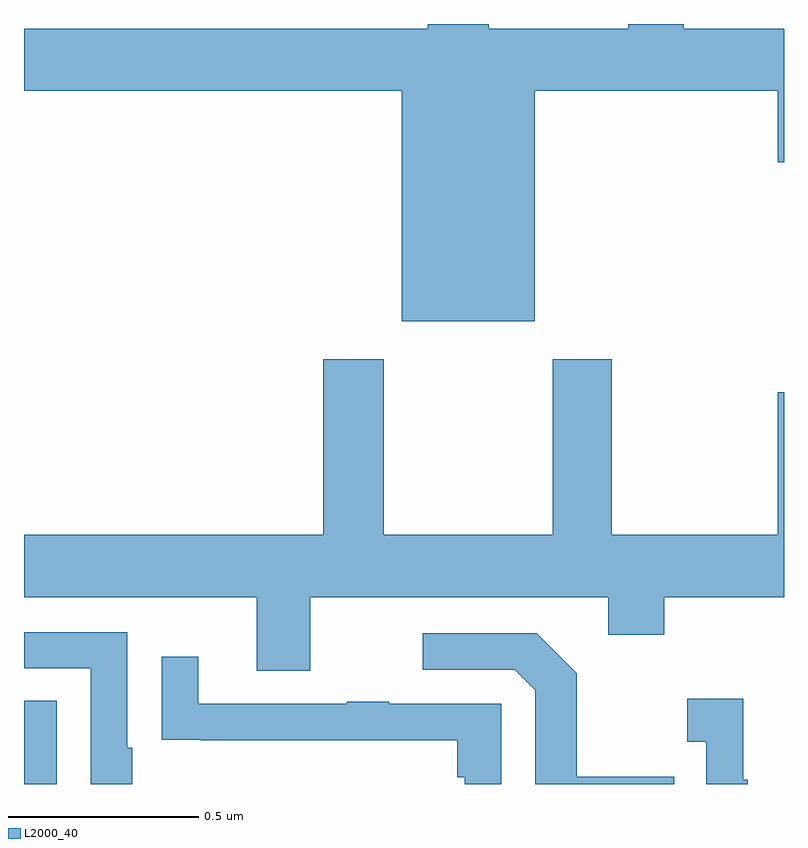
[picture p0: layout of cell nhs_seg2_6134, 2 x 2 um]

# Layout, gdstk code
import gdstk
lib = gdstk.Library(unit=1e-6, precision=1e-09)
def R(c, l, rs):  # rectangles x0, y0, x1, y1
    for r in rs: c.add(gdstk.rectangle(r[:2], r[2:], *l))
def P(c, l, *ps):  # polygons
    for p in ps: c.add(gdstk.Polygon(p, *l))
L2000_40 = (2000, 40)

nhs_seg2_6134 = lib.new_cell('nhs_seg2_6134')
R(nhs_seg2_6134, L2000_40, [(187,657.8,187.086,658.019)])
P(nhs_seg2_6134, L2000_40, [(188.344,659.624),(188.984,659.624),(188.984,659.436),(189,659.436),(189,659.788),(188.736,659.788),(188.736,659.8),(188.59,659.8),(188.59,659.788),(188.223,659.788),(188.223,659.8),(188.063,659.8),(188.063,659.788),(187,659.788),(187,659.624),(187.994,659.624),(187.994,659.018),(188.344,659.018)],
  [(187.753,658.292),(188.537,658.292),(188.537,658.193),(188.685,658.193),(188.685,658.292),(189,658.292),(189,658.831),(188.984,658.831),(188.984,658.456),(188.547,658.456),(188.547,658.918),(188.392,658.918),(188.392,658.456),(187.947,658.456),(187.947,658.918),(187.787,658.918),(187.787,658.456),(187,658.456),(187,658.292),(187.613,658.292),(187.613,658.098),(187.753,658.098)],
  [(187.285,657.895),(187.272,657.895),(187.272,658.2),(187,658.2),(187,658.104),(187.176,658.104),(187.176,657.8),(187.285,657.8)],
  [(188.711,657.819),(188.455,657.819),(188.455,658.091),(188.349,658.197),(188.049,658.197),(188.049,658.101),(188.292,658.101),(188.346,658.047),(188.346,657.8),(188.711,657.8)],
  [(188.256,658.011),(187.961,658.011),(187.961,658.016),(187.849,658.016),(187.849,658.011),(187.459,658.011),(187.459,658.135),(187.363,658.135),(187.363,657.916),(187.465,657.916),(187.465,657.915),(188.14,657.915),(188.14,657.818),(188.16,657.818),(188.16,657.8),(188.256,657.8)],
  [(188.905,657.811),(188.893,657.811),(188.893,658.024),(188.745,658.024),(188.745,657.911),(188.796,657.911),(188.796,657.8),(188.905,657.8)])

lib.write_gds('nhs_seg2_6134.gds')
